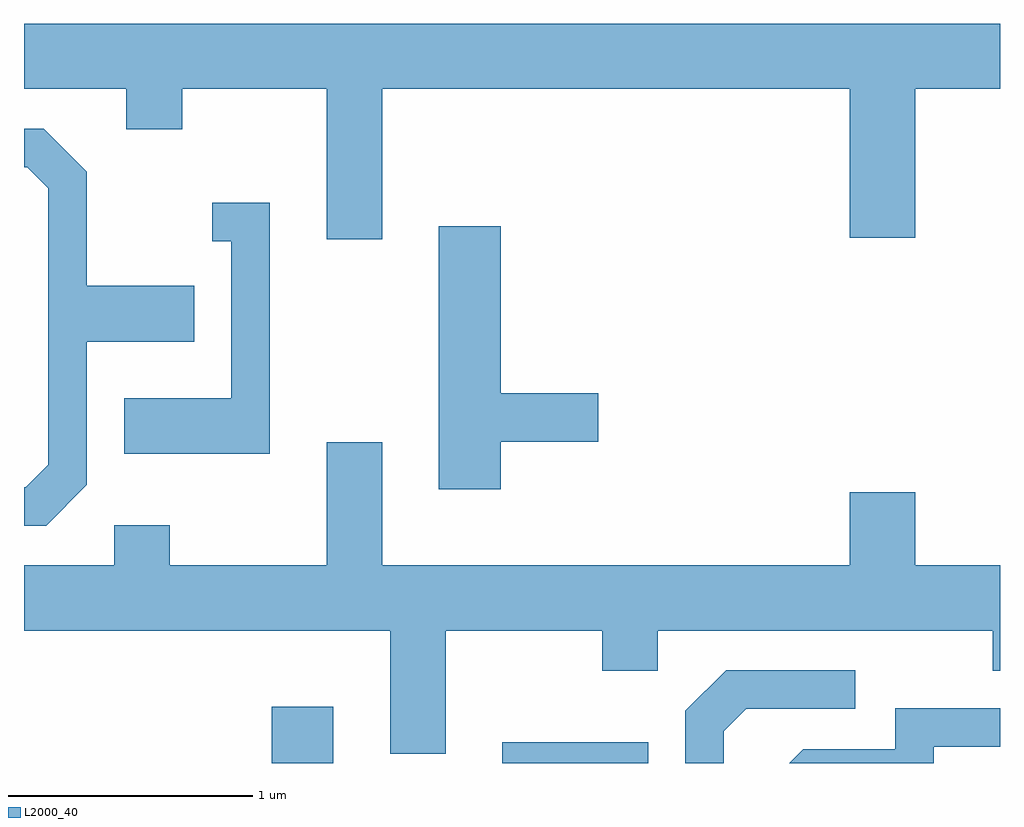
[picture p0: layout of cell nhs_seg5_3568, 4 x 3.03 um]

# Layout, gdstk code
import gdstk
lib = gdstk.Library(unit=1e-6, precision=1e-09)
def R(c, l, rs):  # rectangles x0, y0, x1, y1
    for r in rs: c.add(gdstk.rectangle(r[:2], r[2:], *l))
def P(c, l, *ps):  # polygons
    for p in ps: c.add(gdstk.Polygon(p, *l))
L2000_40 = (2000, 40)

nhs_seg5_3568 = lib.new_cell('nhs_seg5_3568')
R(nhs_seg5_3568, L2000_40, [(292.626,1414.072,292.879,1414.304), (293.571,1414.072,294.169,1414.159)])
P(nhs_seg5_3568, L2000_40, [(293.079,1416.836),(294.996,1416.836),(294.996,1416.226),(295.264,1416.226),(295.264,1416.836),(295.611,1416.836),(295.611,1417.104),(291.611,1417.104),(291.611,1416.836),(292.031,1416.836),(292.031,1416.671),(292.259,1416.671),(292.259,1416.836),(292.851,1416.836),(292.851,1416.221),(293.079,1416.221)],
  [(291.869,1415.214),(291.869,1415.801),(292.309,1415.801),(292.309,1416.029),(291.869,1416.029),(291.869,1416.497),(291.692,1416.674),(291.611,1416.674),(291.611,1416.516),(291.624,1416.516),(291.711,1416.429),(291.711,1415.297),(291.619,1415.204),(291.611,1415.204),(291.611,1415.046),(291.702,1415.046)],
  [(292.619,1416.369),(292.383,1416.369),(292.383,1416.211),(292.461,1416.211),(292.461,1415.569),(292.021,1415.569),(292.021,1415.341),(292.619,1415.341)],
  [(293.564,1415.391),(293.964,1415.391),(293.964,1415.589),(293.564,1415.589),(293.564,1416.274),(293.311,1416.274),(293.311,1415.196),(293.564,1415.196)],
  [(293.339,1414.616),(293.981,1414.616),(293.981,1414.451),(294.209,1414.451),(294.209,1414.616),(295.581,1414.616),(295.581,1414.451),(295.611,1414.451),(295.611,1414.884),(295.264,1414.884),(295.264,1415.184),(294.996,1415.184),(294.996,1414.884),(293.079,1414.884),(293.079,1415.389),(292.851,1415.389),(292.851,1414.884),(292.209,1414.884),(292.209,1415.049),(291.981,1415.049),(291.981,1414.884),(291.611,1414.884),(291.611,1414.616),(293.111,1414.616),(293.111,1414.111),(293.339,1414.111)],
  [(294.479,1414.204),(294.572,1414.296),(295.018,1414.296),(295.018,1414.454),(294.489,1414.454),(294.321,1414.287),(294.321,1414.072),(294.479,1414.072)],
  [(295.339,1414.141),(295.611,1414.141),(295.611,1414.299),(295.181,1414.299),(295.181,1414.129),(294.804,1414.129),(294.747,1414.072),(295.339,1414.072)])

lib.write_gds('nhs_seg5_3568.gds')
